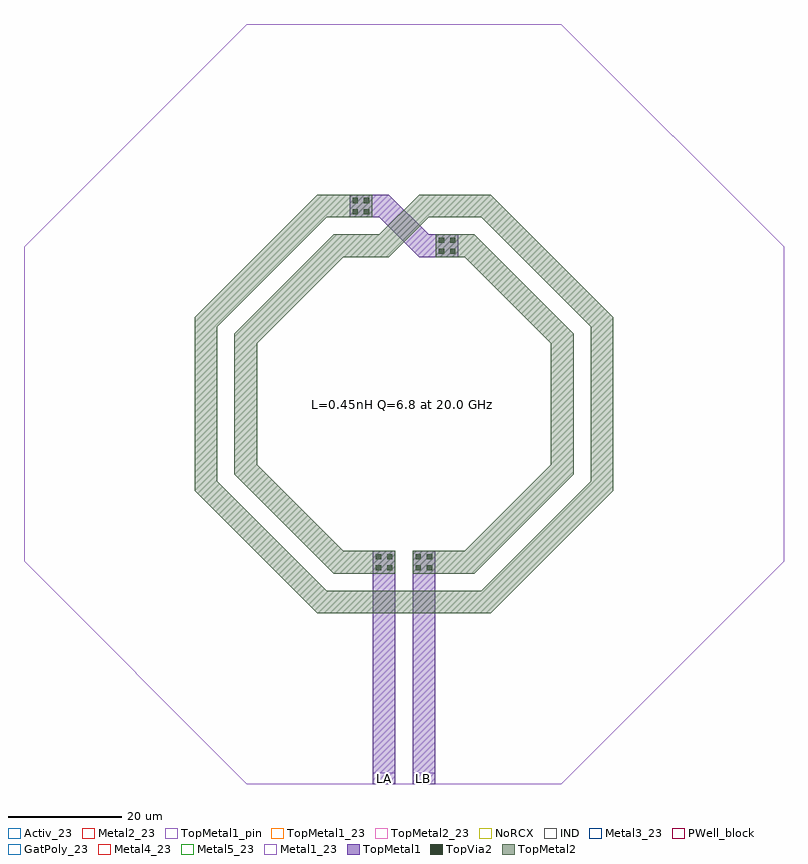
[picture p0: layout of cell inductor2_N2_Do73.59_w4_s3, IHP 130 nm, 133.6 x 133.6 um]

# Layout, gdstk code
import gdstk
lib = gdstk.Library(unit=1e-6, precision=1e-09)
def R(c, l, rs):  # rectangles x0, y0, x1, y1
    for r in rs: c.add(gdstk.rectangle(r[:2], r[2:], *l))
def P(c, l, *ps):  # polygons
    for p in ps: c.add(gdstk.Polygon(p, *l))
Activ_23 = (1, 23)
GatPoly_23 = (5, 23)
Metal1_23 = (8, 23)
Metal2_23 = (10, 23)
IND = (27, 0)
Metal3_23 = (30, 23)
PWell_block = (46, 21)
Metal4_23 = (50, 23)
Metal5_23 = (67, 23)
TopMetal1 = (126, 0)
TopMetal1_pin = (126, 2)
TopMetal1_23 = (126, 23)
TopVia2 = (133, 0)
TopMetal2 = (134, 0)
TopMetal2_23 = (134, 23)
NoRCX = (148, 0)

inductor2_n2_do73_59_w4_ = lib.new_cell('inductor2_N2_Do73.59_w4_s3')
P(inductor2_n2_do73_59_w4_, Activ_23, [(27.67,-66.8),(66.8,-27.67),(66.8,27.67),(27.67,66.8),(-27.67,66.8),(-66.8,27.67),(-66.8,-27.67),(-27.67,-66.8)])
P(inductor2_n2_do73_59_w4_, GatPoly_23, [(27.67,-66.8),(66.8,-27.67),(66.8,27.67),(27.67,66.8),(-27.67,66.8),(-66.8,27.67),(-66.8,-27.67),(-27.67,-66.8)])
P(inductor2_n2_do73_59_w4_, Metal1_23, [(27.67,-66.8),(66.8,-27.67),(66.8,27.67),(27.67,66.8),(-27.67,66.8),(-66.8,27.67),(-66.8,-27.67),(-27.67,-66.8)])
P(inductor2_n2_do73_59_w4_, Metal2_23, [(27.67,-66.8),(66.8,-27.67),(66.8,27.67),(27.67,66.8),(-27.67,66.8),(-66.8,27.67),(-66.8,-27.67),(-27.67,-66.8)])
P(inductor2_n2_do73_59_w4_, IND, [(27.67,-66.8),(66.8,-27.67),(66.8,27.67),(27.67,66.8),(-27.67,66.8),(-66.8,27.67),(-66.8,-27.67),(-27.67,-66.8)])
P(inductor2_n2_do73_59_w4_, Metal3_23, [(27.67,-66.8),(66.8,-27.67),(66.8,27.67),(27.67,66.8),(-27.67,66.8),(-66.8,27.67),(-66.8,-27.67),(-27.67,-66.8)])
P(inductor2_n2_do73_59_w4_, PWell_block, [(27.67,-66.8),(66.8,-27.67),(66.8,27.67),(27.67,66.8),(-27.67,66.8),(-66.8,27.67),(-66.8,-27.67),(-27.67,-66.8)])
P(inductor2_n2_do73_59_w4_, Metal4_23, [(27.67,-66.8),(66.8,-27.67),(66.8,27.67),(27.67,66.8),(-27.67,66.8),(-66.8,27.67),(-66.8,-27.67),(-27.67,-66.8)])
P(inductor2_n2_do73_59_w4_, Metal5_23, [(27.67,-66.8),(66.8,-27.67),(66.8,27.67),(27.67,66.8),(-27.67,66.8),(-66.8,27.67),(-66.8,-27.67),(-27.67,-66.8)])
R(inductor2_n2_do73_59_w4_, TopMetal1, [(-5.5,-66.8,-1.5,-25.8), (1.5,-66.8,5.5,-25.8)])
P(inductor2_n2_do73_59_w4_, TopMetal1, [(-9.57,36.8),(-9.57,32.8),(-4.328,32.8),(2.672,25.8),(9.57,25.8),(9.57,29.8),(4.328,29.8),(-2.672,36.8)])
R(inductor2_n2_do73_59_w4_, TopMetal1_pin, [(-5.5,-66.8,-1.5,-64.8), (1.5,-66.8,5.5,-64.8)])
P(inductor2_n2_do73_59_w4_, TopMetal1_23, [(27.67,-66.8),(66.8,-27.67),(66.8,27.67),(27.67,66.8),(-27.67,66.8),(-66.8,27.67),(-66.8,-27.67),(-27.67,-66.8)])
R(inductor2_n2_do73_59_w4_, TopVia2, [(-4.93,-29.23,-4.03,-28.33), (-2.97,-29.23,-2.07,-28.33), (2.07,-29.23,2.97,-28.33), (4.03,-29.23,4.93,-28.33), (-4.93,-27.27,-4.03,-26.37), (-2.97,-27.27,-2.07,-26.37), (2.07,-27.27,2.97,-26.37), (4.03,-27.27,4.93,-26.37), (6.14,26.37,7.04,27.27), (8.1,26.37,9,27.27), (6.14,28.33,7.04,29.23), (8.1,28.33,9,29.23), (-9,33.37,-8.1,34.27), (-7.04,33.37,-6.14,34.27), (-9,35.33,-8.1,36.23), (-7.04,35.33,-6.14,36.23)])
R(inductor2_n2_do73_59_w4_, TopMetal2, [(-9.57,-36.8,9.57,-32.8)])
P(inductor2_n2_do73_59_w4_, TopMetal2, [(-5.57,-36.8),(-5.57,-32.8),(-13.582,-32.8),(-32.8,-13.582),(-32.8,4),(-36.8,4),(-36.8,-15.238),(-15.238,-36.8)],
  [(-5.57,32.8),(-5.57,36.8),(-15.238,36.8),(-36.8,15.238),(-36.8,-4),(-32.8,-4),(-32.8,13.582),(-13.582,32.8)],
  [(5.57,-32.8),(5.57,-36.8),(15.238,-36.8),(36.8,-15.238),(36.8,4),(32.8,4),(32.8,-13.582),(13.582,-32.8)],
  [(5.57,36.8),(5.57,32.8),(13.582,32.8),(32.8,13.582),(32.8,-4),(36.8,-4),(36.8,15.238),(15.238,36.8)],
  [(-1.5,-29.8),(-1.5,-25.8),(-10.692,-25.8),(-25.8,-10.692),(-25.8,4),(-29.8,4),(-29.8,-12.348),(-12.348,-29.8)],
  [(-5.57,25.8),(-5.57,29.8),(-12.348,29.8),(-29.8,12.348),(-29.8,-4),(-25.8,-4),(-25.8,10.692),(-10.692,25.8)],
  [(1.5,-25.8),(1.5,-29.8),(12.348,-29.8),(29.8,-12.348),(29.8,4),(25.8,4),(25.8,-10.692),(10.692,-25.8)],
  [(5.57,29.8),(5.57,25.8),(10.692,25.8),(25.8,10.692),(25.8,-4),(29.8,-4),(29.8,12.348),(12.348,29.8)],
  [(-9.57,29.8),(-9.57,25.8),(-2.672,25.8),(4.328,32.8),(9.57,32.8),(9.57,36.8),(2.672,36.8),(-4.328,29.8)])
P(inductor2_n2_do73_59_w4_, TopMetal2_23, [(27.67,-66.8),(66.8,-27.67),(66.8,27.67),(27.67,66.8),(-27.67,66.8),(-66.8,27.67),(-66.8,-27.67),(-27.67,-66.8)])
P(inductor2_n2_do73_59_w4_, NoRCX, [(27.67,-66.8),(66.8,-27.67),(66.8,27.67),(27.67,66.8),(-27.67,66.8),(-66.8,27.67),(-66.8,-27.67),(-27.67,-66.8)])
inductor2_n2_do73_59_w4_.add(gdstk.Label('LA', (-3.5,-65.8), layer=27, texttype=25))
inductor2_n2_do73_59_w4_.add(gdstk.Label('LB', (3.5,-65.8), layer=27, texttype=25))
inductor2_n2_do73_59_w4_.add(gdstk.Label('L=0.45nH Q=6.8 at 20.0 GHz\n  number of turns: 2\n  width: 4.00\n  spacing: 3.00\n  outer diameter: 73.59\n  inner diameter: 51.59\n', (0,0), layer=63, texttype=0))

lib.write_gds('inductor2_N2_Do73.59_w4_s3.gds')
